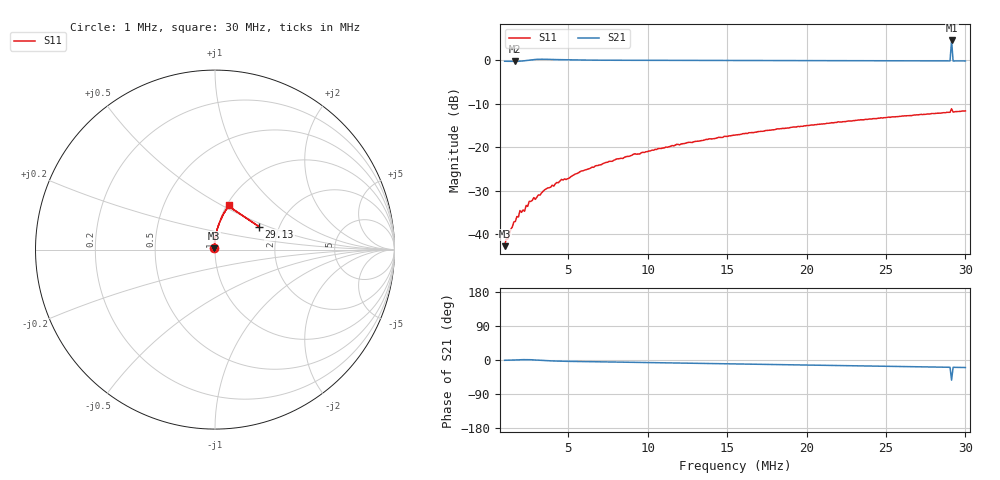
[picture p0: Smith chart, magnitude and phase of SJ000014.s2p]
!File created by NanoVNA-F V2
# Hz S RI R 50
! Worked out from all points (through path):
!   301 points, 1 MHz to 30 MHz, reference 50 ohm
!   highest |S21| = 4.55 dB at 29.13 MHz (marker M1); lowest = -0.3 dB at 1.677 MHz (marker M2)
!   lowest |S11| = -42.7 dB at 1 MHz (marker M3), VSWR 1.01, Z = 49.6 + j0.629 ohm
!   |S11| at or under -10 dB: start of sweep to end of sweep
!   S12 and S22 are empty: the file has one direction only
!   S11 on the Smith chart (normalised r, x): 1 MHz: 0.99, +0.01; 29.13 MHz: 1.58, +0.44; 30 MHz: 1.03, +0.55
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1000000  -0.00364 0.00634  0.9743 -0.0131  0 0  0 0
1096666  -0.00541 0.00696  0.9735 -0.0114  0 0  0 0
1193332  -0.0046 0.00756  0.972 -0.00966  0 0  0 0
1579996  -0.00519 0.0128  0.9694 -0.00147  0 0  0 0
1676662  -0.00417 0.0134  0.9685 9.7e-05  0 0  0 0
1773328  -0.0053 0.0151  0.9707 0.00382  0 0  0 0
1869994  -0.00528 0.0149  0.9731 0.00789  0 0  0 0
1966660  -0.00547 0.0179  0.9746 0.0102  0 0  0 0
2256658  -0.00459 0.0178  0.9873 0.0162  0 0  0 0
2353324  -0.00477 0.0209  0.9918 0.017  0 0  0 0
2836654  -0.00613 0.0257  1.018 0.0049  0 0  0 0
2933320  -0.00336 0.025  1.021 -0.000282  0 0  0 0
4576642  -0.00298 0.0427  1.014 -0.0567  0 0  0 0
5833300  -0.00157 0.0534  1.003 -0.0735  0 0  0 0
1.06666e7  0.00748 0.0965  0.99 -0.1232  0 0  0 0
1.54999e7  0.0194 0.1368  0.9788 -0.1756  0 0  0 0
2.03332e7  0.0372 0.1763  0.965 -0.2293  0 0  0 0
2.51665e7  0.0568 0.2149  0.947 -0.2825  0 0  0 0
2.903314e7  0.0751 0.2414  0.9289 -0.3239  0 0  0 0
2.912981e7  0.246 0.1274  1.011 -1.352  0 0  0 0
2.922647e7  0.0761 0.2424  0.9267 -0.3243  0 0  0 0
2.99998e7  0.08 0.2492  0.924 -0.3331  0 0  0 0
